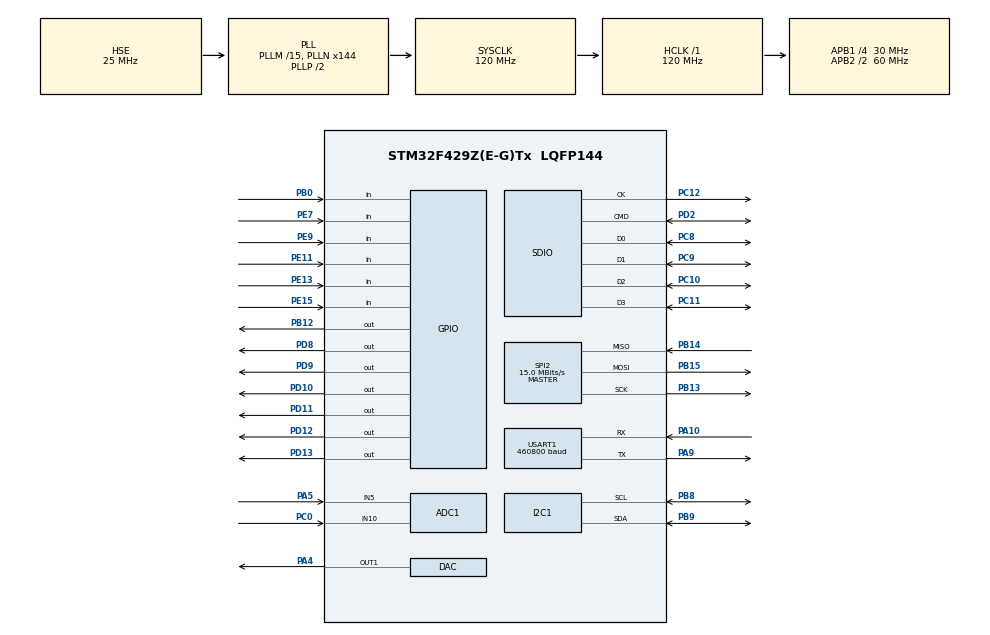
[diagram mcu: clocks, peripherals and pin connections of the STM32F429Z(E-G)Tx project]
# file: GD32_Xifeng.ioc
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ADC1.Channel-3\#ChannelRegularConversion=ADC_CHANNEL_10
ADC1.Channel-5\#ChannelRegularConversion=ADC_CHANNEL_5
ADC1.ContinuousConvMode=DISABLE
ADC1.DMAContinuousRequests=DISABLE
ADC1.EnableAnalogWatchDog=false
ADC1.ExternalTrigConv=ADC_EXTERNALTRIGCONV_T3_TRGO
ADC1.NbrOfConversion=2
ADC1.NbrOfConversionFlag=1
ADC1.Rank-3\#ChannelRegularConversion=1
ADC1.Rank-5\#ChannelRegularConversion=2
ADC1.SamplingTime-3\#ChannelRegularConversion=ADC_SAMPLETIME_3CYCLES
ADC1.SamplingTime-5\#ChannelRegularConversion=ADC_SAMPLETIME_3CYCLES
ADC1.ScanConvMode=ENABLE
ADC1.master=1
DAC.DAC_Trigger=DAC_TRIGGER_T6_TRGO
Dma.ADC1.2.Direction=DMA_PERIPH_TO_MEMORY
Dma.ADC1.2.FIFOMode=DMA_FIFOMODE_DISABLE
Dma.ADC1.2.Instance=DMA2_Stream0
Dma.ADC1.2.MemDataAlignment=DMA_MDATAALIGN_WORD
Dma.ADC1.2.MemInc=DMA_MINC_ENABLE
Dma.ADC1.2.Mode=DMA_NORMAL
Dma.ADC1.2.PeriphDataAlignment=DMA_PDATAALIGN_WORD
Dma.ADC1.2.PeriphInc=DMA_PINC_DISABLE
Dma.ADC1.2.Priority=DMA_PRIORITY_LOW
Dma.DAC1.1.Direction=DMA_MEMORY_TO_PERIPH
Dma.DAC1.1.FIFOMode=DMA_FIFOMODE_DISABLE
Dma.DAC1.1.Instance=DMA1_Stream5
Dma.DAC1.1.MemDataAlignment=DMA_MDATAALIGN_HALFWORD
Dma.DAC1.1.MemInc=DMA_MINC_ENABLE
Dma.DAC1.1.Mode=DMA_CIRCULAR
Dma.DAC1.1.PeriphDataAlignment=DMA_PDATAALIGN_HALFWORD
Dma.DAC1.1.PeriphInc=DMA_PINC_DISABLE
Dma.DAC1.1.Priority=DMA_PRIORITY_LOW
Dma.Request0=USART1_RX
Dma.Request1=DAC1
Dma.Request2=ADC1
Dma.USART1_RX.0.Direction=DMA_PERIPH_TO_MEMORY
Dma.USART1_RX.0.FIFOMode=DMA_FIFOMODE_DISABLE
Dma.USART1_RX.0.Instance=DMA2_Stream2
Dma.USART1_RX.0.MemDataAlignment=DMA_MDATAALIGN_BYTE
Dma.USART1_RX.0.MemInc=DMA_MINC_ENABLE
Dma.USART1_RX.0.Mode=DMA_NORMAL
Dma.USART1_RX.0.PeriphDataAlignment=DMA_PDATAALIGN_BYTE
Dma.USART1_RX.0.PeriphInc=DMA_PINC_DISABLE
Dma.USART1_RX.0.Priority=DMA_PRIORITY_LOW
FATFS._CODE_PAGE=936
FATFS._USE_LFN=3
I2C1.I2C_Mode=I2C_Fast
Mcu.Family=STM32F4
Mcu.Name=STM32F429Z(E-G)Tx
Mcu.Package=LQFP144
NVIC.ADC_IRQn=true\:0\:0\:false\:false\:true\:true\:true\:true
NVIC.DMA1_Stream5_IRQn=true\:0\:0\:false\:false\:true\:false\:true\:true
NVIC.DMA2_Stream0_IRQn=true\:0\:0\:false\:false\:true\:false\:true\:true
NVIC.DMA2_Stream2_IRQn=true\:0\:0\:false\:false\:true\:false\:true\:true
NVIC.PriorityGroup=NVIC_PRIORITYGROUP_4
NVIC.TIM8_TRG_COM_TIM14_IRQn=true\:0\:0\:false\:false\:true\:true\:true\:true
NVIC.USART1_IRQn=true\:0\:0\:false\:false\:true\:true\:true\:true
PA10.Mode=Asynchronous
PA10.Signal=USART1_RX
PA13.Mode=Serial_Wire
PA13.Signal=SYS_JTMS-SWDIO
PA14.Mode=Serial_Wire
PA14.Signal=SYS_JTCK-SWCLK
PA4.Signal=COMP_DAC1_group
PA5.Signal=ADCx_IN5
PA9.Mode=Asynchronous
PA9.Signal=USART1_TX
PB0.Signal=GPIO_Input
PB12.Signal=GPIO_Output
PB13.Mode=Full_Duplex_Master
PB13.Signal=SPI2_SCK
PB14.Mode=Full_Duplex_Master
PB14.Signal=SPI2_MISO
PB15.Mode=Full_Duplex_Master
PB15.Signal=SPI2_MOSI
PB8.Mode=I2C
PB8.Signal=I2C1_SCL
PB9.Mode=I2C
PB9.Signal=I2C1_SDA
PC0.Signal=ADCx_IN10
PC10.Mode=SD_4_bits_Wide_bus
PC10.Signal=SDIO_D2
PC11.Mode=SD_4_bits_Wide_bus
PC11.Signal=SDIO_D3
PC12.Mode=SD_4_bits_Wide_bus
PC12.Signal=SDIO_CK
PC14/OSC32_IN.Mode=LSE-External-Oscillator
PC14/OSC32_IN.Signal=RCC_OSC32_IN
PC15/OSC32_OUT.Mode=LSE-External-Oscillator
PC15/OSC32_OUT.Signal=RCC_OSC32_OUT
PC8.Mode=SD_4_bits_Wide_bus
PC8.Signal=SDIO_D0
PC9.Mode=SD_4_bits_Wide_bus
PC9.Signal=SDIO_D1
PD10.GPIO_ModeDefaultOutputPP=GPIO_MODE_OUTPUT_PP
PD10.GPIO_PuPd=GPIO_PULLUP
PD10.PinState=GPIO_PIN_SET
PD10.Signal=GPIO_Output
PD11.GPIO_ModeDefaultOutputPP=GPIO_MODE_OUTPUT_PP
PD11.GPIO_PuPd=GPIO_PULLUP
PD11.PinState=GPIO_PIN_SET
PD11.Signal=GPIO_Output
PD12.GPIO_ModeDefaultOutputPP=GPIO_MODE_OUTPUT_PP
PD12.GPIO_PuPd=GPIO_PULLUP
PD12.PinState=GPIO_PIN_SET
PD12.Signal=GPIO_Output
PD13.GPIO_ModeDefaultOutputPP=GPIO_MODE_OUTPUT_PP
PD13.GPIO_PuPd=GPIO_PULLUP
PD13.PinState=GPIO_PIN_SET
PD13.Signal=GPIO_Output
PD2.Mode=SD_4_bits_Wide_bus
PD2.Signal=SDIO_CMD
PD8.GPIO_ModeDefaultOutputPP=GPIO_MODE_OUTPUT_PP
PD8.GPIO_PuPd=GPIO_PULLUP
PD8.PinState=GPIO_PIN_SET
PD8.Signal=GPIO_Output
PD9.GPIO_ModeDefaultOutputPP=GPIO_MODE_OUTPUT_PP
PD9.GPIO_PuPd=GPIO_PULLUP
PD9.PinState=GPIO_PIN_SET
PD9.Signal=GPIO_Output
PE11.Signal=GPIO_Input
PE13.Signal=GPIO_Input
PE15.Signal=GPIO_Input
PE2.Signal=SPI4_SCK
PE7.Signal=GPIO_Input
PE9.Signal=GPIO_Input
PH0/OSC_IN.Mode=HSE-External-Oscillator
PH0/OSC_IN.Signal=RCC_OSC_IN
PH1/OSC_OUT.Mode=HSE-External-Oscillator
PH1/OSC_OUT.Signal=RCC_OSC_OUT
ProjectManager.HeapSize=0x1000
ProjectManager.StackSize=0x400
ProjectManager.TargetToolchain=MDK-ARM V5
RCC.48MHZClocksFreq_Value=48000000
RCC.AHBFreq_Value=120000000
RCC.APB1CLKDivider=RCC_HCLK_DIV4
RCC.APB1Freq_Value=30000000
RCC.APB1TimFreq_Value=60000000
RCC.APB2CLKDivider=RCC_HCLK_DIV2
RCC.APB2Freq_Value=60000000
RCC.APB2TimFreq_Value=120000000
RCC.CortexFreq_Value=120000000
RCC.HCLKFreq_Value=120000000
RCC.HSE_VALUE=25000000
RCC.HSI_VALUE=16000000
RCC.PLLM=15
RCC.PLLN=144
RCC.PLLQ=5
RCC.PLLSourceVirtual=RCC_PLLSOURCE_HSE
RCC.SYSCLKFreq_VALUE=120000000
RCC.SYSCLKSource=RCC_SYSCLKSOURCE_PLLCLK
RCC.VCOOutputFreq_Value=240000000
RTC.Alarm=RTC_ALARM_A
RTC.Alarm_B=RTC_ALARM_B
RTC.Date=12
RTC.Format=RTC_FORMAT_BIN
RTC.Hours=13
RTC.Minutes=19
RTC.Month=RTC_MONTH_MAY
RTC.Seconds=30
RTC.WeekDay=RTC_WEEKDAY_THURSDAY
RTC.Year=25
SDIO.ClockDiv=6
SH.ADCx_IN10.0=ADC1_IN10,IN10
SH.ADCx_IN5.0=ADC1_IN5,IN5
SH.COMP_DAC1_group.0=DAC_OUT1,DAC_OUT1
SPI2.CLKPhase=SPI_PHASE_2EDGE
SPI2.CLKPolarity=SPI_POLARITY_HIGH
SPI2.CalculateBaudRate=15.0 MBits/s
SPI2.Direction=SPI_DIRECTION_2LINES
SPI2.Mode=SPI_MODE_MASTER
SPI2.VirtualType=VM_MASTER
STMicroelectronics.X-CUBE-ALGOBUILD.1.3.0.LibraryCcDSPOoLibraryJjDSPOoLibrary=true
TIM14.AutoReloadPreload=TIM_AUTORELOAD_PRELOAD_ENABLE
TIM14.Period=5000-1
TIM14.Prescaler=180-1
TIM3.AutoReloadPreload=TIM_AUTORELOAD_PRELOAD_ENABLE
TIM3.Period=100-1
TIM3.Prescaler=180-1
TIM3.TIM_MasterOutputTrigger=TIM_TRGO_UPDATE
TIM6.AutoReloadPreload=TIM_AUTORELOAD_PRELOAD_ENABLE
TIM6.Period=100-1
TIM6.Prescaler=180-1
TIM6.TIM_MasterOutputTrigger=TIM_TRGO_UPDATE
USART1.BaudRate=460800
USART1.VirtualMode=VM_ASYNC
VP_FATFS_VS_SDIO.Mode=SDIO
VP_RTC_VS_RTC_Activate.Mode=RTC_Enabled
VP_RTC_VS_RTC_Alarm_A_Intern.Mode=Alarm A
VP_RTC_VS_RTC_Alarm_B_Intern.Mode=Alarm B
VP_RTC_VS_RTC_Calendar.Mode=RTC_Calendar
VP_STMicroelectronics.X-CUBE-ALGOBUILD_VS_DSPOoLibraryJjLibrary_1.3.0_1.3.0.Mode=DSPOoLibraryJjLibrary
VP_TIM14_VS_ClockSourceINT.Mode=Enable_Timer
VP_TIM3_VS_ClockSourceINT.Mode=Internal
VP_TIM6_VS_ClockSourceINT.Mode=Enable_Timer
board=custom

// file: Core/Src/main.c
/* USER CODE BEGIN Header */
/**
 ******************************************************************************
 * @file           : main.c
 * @brief          : Main program body
 ******************************************************************************
 * @attention
 *
 * Copyright (c) 2025 STMicroelectronics.
 * All rights reserved.
 *
 * This software is licensed under terms that can be found in the LICENSE file
 * in the root directory of this software component.
 * If no LICENSE file comes with this software, it is provided AS-IS.
 *
 ******************************************************************************
 */
/* USER CODE END Header */
#include "main.h"
#include "adc.h"
#include "dac.h"
#include "dma.h"
#include "fatfs.h"
#include "i2c.h"
#include "rtc.h"
#include "sdio.h"
#include "spi.h"
#include "tim.h"
#include "usart.h"
#include "gpio.h"

/* USER CODE BEGIN Includes */
#include "stdio.h"   /* 标准输入输出：提供printf等函数 */
#include "mydefine.h" /* 自定义宏定义和函数：项目配置和功能集合 */
#include "string.h"  /* 字符串处理：提供字符串操作函数 */
#include "ff.h"      /* FatFs文件系统核心：提供文件操作API */
/* USER CODE END Includes */

/* USER CODE BEGIN PTD */
/* 本节用于声明自定义类型，如结构体、枚举等 */
/* USER CODE END PTD */

/* USER CODE BEGIN PD */
/* 本节用于项目内部的宏定义 */
/* USER CODE END PD */

/* USER CODE BEGIN PM */
/* 本节用于定义复杂的宏函数 */
/* USER CODE END PM */

void SystemClock_Config(void);
/* USER CODE BEGIN PFP */
/* 本节用于声明私有函数原型 */
/* USER CODE END PFP */

/* USER CODE BEGIN 0 */

/* ===== 信号生成相关参数 ===== */
// 注意：峰值幅度是相对于中心电压 (Vref/2) 的。
//       如果 Vref = 3.3V, 中心电压 = 1.65V。
//       峰值幅度 1000mV 意味着输出电压范围大约在 0.65V 到 2.65V 之间。
uint32_t initial_frequency = 100;      // 初始频率：单位Hz，可通过函数修改
uint16_t initial_peak_amplitude = 1000; // 初始峰值幅度：单位mV，可通过函数修改

/* ===== 显示相关变量 ===== */

RTC_TimeTypeDef mytime = {0};
uint32_t hour;
uint32_t min;
uint32_t sec;
RTC_DateTypeDef mydata={0};

/* USER CODE END 0 */

int main(void)
{

  /* USER CODE BEGIN 1 */
  /* 初始化前的预备工作可以放在这里 */
  /* USER CODE END 1 */

  /* MCU Configuration--------------------------------------------------------*/

  /* Reset of all peripherals, Initializes the Flash interface and the Systick. */
  HAL_Init();

  /* USER CODE BEGIN Init */
  /* 其他自定义初始化可以放在这里 */
  /* USER CODE END Init */

  /* Configure the system clock */
  SystemClock_Config();

  /* USER CODE BEGIN SysInit */
  /* 系统级初始化可以放在这里 */
  /* USER CODE END SysInit */

  /* Initialize all configured peripherals */
  MX_GPIO_Init();
  MX_DMA_Init();
  MX_USART1_UART_Init();
  MX_ADC1_Init();
  MX_DAC_Init();
  MX_TIM3_Init();
  MX_TIM6_Init();
  MX_TIM14_Init();
  MX_I2C1_Init();
  MX_SPI2_Init();
  MX_SDIO_SD_Init();
  MX_FATFS_Init();
  MX_RTC_Init();
  /* USER CODE BEGIN 2 */
  /* ===== 应用层初始化开始 ===== */

  /* FFT模块初始化：用于频谱分析 */
  My_FFT_Init();

  /* 串口环形缓冲区初始化：用于异步处理串口数据 */
  rt_ringbuffer_init(&uart_ringbuffer, ringbuffer_pool, sizeof(ringbuffer_pool));

  /* 信号生成应用初始化 */
  dac_app_init(initial_frequency, initial_peak_amplitude);
  dac_app_set_frequency(1000);
  dac_app_set_waveform(WAVEFORM_TRIANGLE);

  /* 按钮应用初始化：处理按键输入 */
  app_btn_init();

  /* OLED显示初始化：准备显示硬件 */
  OLED_Init();

  /* ADC采样定时器DMA初始化：用于连续信号采集 */
  adc_tim_dma_init();

  /* SPI Flash测试（注释掉的部分） */
  //	test_spi_flash();

  /* 输出系统初始化完成信息 */
  my_printf(&huart1, "\r\n--- System Init OK ---\r\n");

  /* ===== LittleFS文件系统初始化 ===== */
  /* 初始化SPI Flash存储设备 */
  spi_flash_init(); // 确保SPI Flash已就绪
  my_printf(&huart1, "LFS: Initializing storage backend...\r\n");
  /* 初始化LittleFS存储后端 */
  if (lfs_storage_init(&cfg) != LFS_ERR_OK)
  {
    my_printf(&huart1, "LFS: Storage backend init FAILED! Halting.\r\n");
    while (1)
      ; // 存储后端初始化失败时死循环
  }
  my_printf(&huart1, "LFS: Storage backend init OK.\r\n");

  /* 运行LittleFS基本测试：挂载、格式化(如需)和读写测试 */
  lfs_basic_test();

  /* ===== Shell命令行界面初始化 ===== */
  // 初始化Shell并传入文件系统实例
  shell_init(&lfs);

  // 设置UART句柄
  shell_set_uart(&huart1);

  /* 初始化任务调度器：管理多任务执行 */
  scheduler_init();

  /* 测试SD卡和FAT文件系统功能 */
sd_fatfs_test_all_data_types();
  /* USER CODE END 2 */

  /* Infinite loop */
  /* USER CODE BEGIN WHILE */

  while (1) /* 主循环：程序将一直在此循环中运行 */
  {
    /* USER CODE END WHILE */

    /* USER CODE BEGIN 3 */
    /* 运行任务调度器：处理所有注册的任务 */
    scheduler_run();
		HAL_RTC_GetTime(&hrtc,&mytime,RTC_FORMAT_BIN);
		hour=mytime.Hours;
		min=mytime.Minutes;
		sec=mytime.Seconds;
		HAL_RTC_GetDate(&hrtc, &mydata ,RTC_FORMAT_BIN);
  }
  /* USER CODE END 3 */
}

void SystemClock_Config(void)
{
  RCC_OscInitTypeDef RCC_OscInitStruct = {0};
  RCC_ClkInitTypeDef RCC_ClkInitStruct = {0};

  /** Configure the main internal regulator output voltage
  */
  __HAL_RCC_PWR_CLK_ENABLE();
  __HAL_PWR_VOLTAGESCALING_CONFIG(PWR_REGULATOR_VOLTAGE_SCALE3);

  /** Initializes the RCC Oscillators according to the specified parameters
  * in the RCC_OscInitTypeDef structure.
  */
  RCC_OscInitStruct.OscillatorType = RCC_OSCILLATORTYPE_LSI|RCC_OSCILLATORTYPE_HSE;
  RCC_OscInitStruct.HSEState = RCC_HSE_ON;
  RCC_OscInitStruct.LSIState = RCC_LSI_ON;
  RCC_OscInitStruct.PLL.PLLState = RCC_PLL_ON;
  RCC_OscInitStruct.PLL.PLLSource = RCC_PLLSOURCE_HSE;
  RCC_OscInitStruct.PLL.PLLM = 15;
  RCC_OscInitStruct.PLL.PLLN = 144;
  RCC_OscInitStruct.PLL.PLLP = RCC_PLLP_DIV2;
  RCC_OscInitStruct.PLL.PLLQ = 5;
  if (HAL_RCC_OscConfig(&RCC_OscInitStruct) != HAL_OK)
  {
    Error_Handler();
  }

  /** Initializes the CPU, AHB and APB buses clocks
  */
  RCC_ClkInitStruct.ClockType = RCC_CLOCKTYPE_HCLK|RCC_CLOCKTYPE_SYSCLK
                              |RCC_CLOCKTYPE_PCLK1|RCC_CLOCKTYPE_PCLK2;
  RCC_ClkInitStruct.SYSCLKSource = RCC_SYSCLKSOURCE_PLLCLK;
  RCC_ClkInitStruct.AHBCLKDivider = RCC_SYSCLK_DIV1;
  RCC_ClkInitStruct.APB1CLKDivider = RCC_HCLK_DIV4;
  RCC_ClkInitStruct.APB2CLKDivider = RCC_HCLK_DIV2;

  if (HAL_RCC_ClockConfig(&RCC_ClkInitStruct, FLASH_LATENCY_3) != HAL_OK)
  {
    Error_Handler();
  }
}

/* USER CODE BEGIN 4 */
/* 用户代码段4：可添加自定义函数实现 */
/* USER CODE END 4 */

void Error_Handler(void)
{
  /* USER CODE BEGIN Error_Handler_Debug */
  /* 用户可以添加自己的实现来报告HAL错误返回状态 */
  __disable_irq(); /* 禁用中断 */
  while (1) /* 错误处理死循环 */
  {
  }
  /* USER CODE END Error_Handler_Debug */
}

#ifdef  USE_FULL_ASSERT
/**
  * @brief  Reports the name of the source file and the source line number
  *         where the assert_param error has occurred.
  * @param  file: pointer to the source file name
  * @param  line: assert_param error line source number
  * @retval None
  */
void assert_failed(uint8_t *file, uint32_t line)
{
  /* USER CODE BEGIN 6 */
  /* 用户可以添加自己的实现来报告文件名和行号，
     例如: printf("Wrong parameters value: file %s on line %d\r\n", file, line) */
  /* USER CODE END 6 */
}
#endif /* USE_FULL_ASSERT */
